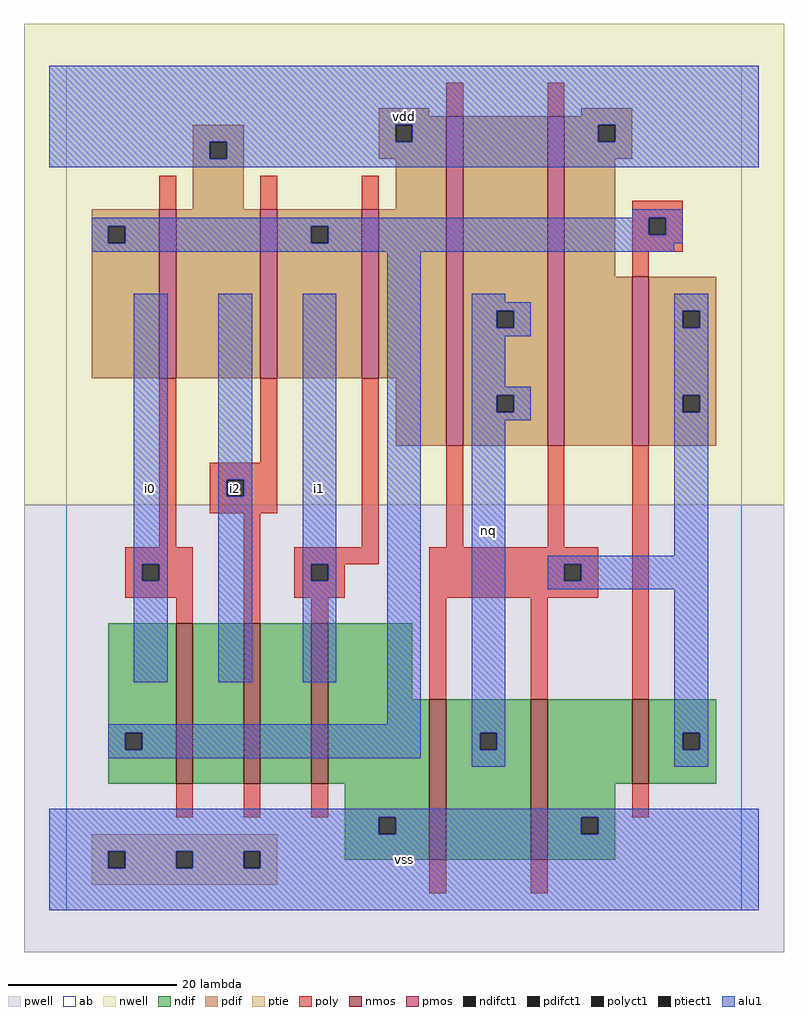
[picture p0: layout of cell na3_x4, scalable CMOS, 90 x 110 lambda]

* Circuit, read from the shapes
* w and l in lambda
.subckt na3_x4 i0 i1 i2 nq vdd vss
M1 n1 i0 n2 vss nfet w=19 l=2
M2 n3 i2 n1 vss nfet w=19 l=2
M3 vss i1 n3 vss nfet w=19 l=2
M4 nq n4 vss vss nfet w=19 l=2 m=2
M5 n4 n2 vss vss nfet w=10 l=2
M6 vdd i0 n2 n5 pfet w=20 l=2
M7 n2 i2 vdd n5 pfet w=20 l=2
M8 vdd i1 n2 n5 pfet w=20 l=2
M9 nq n4 vdd n5 pfet w=39 l=2 m=2
M10 n4 n2 vdd n5 pfet w=20 l=2
.ends

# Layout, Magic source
magic
tech scmos
<< ab >>
rect 0 0 80 100
<< nwell >>
rect -5 48 85 105
<< pwell >>
rect -5 -5 85 48
<< poly >>
rect 45 94 47 98
rect 57 94 59 98
rect 11 83 13 87
rect 23 83 25 87
rect 35 83 37 87
rect 11 43 13 63
rect 23 53 25 63
rect 17 51 25 53
rect 17 49 19 51
rect 21 49 25 51
rect 17 47 25 49
rect 7 41 15 43
rect 7 39 9 41
rect 11 39 15 41
rect 7 37 15 39
rect 13 34 15 37
rect 21 34 23 47
rect 35 43 37 63
rect 67 82 73 84
rect 67 80 69 82
rect 71 80 73 82
rect 67 78 73 80
rect 67 75 69 78
rect 45 43 47 55
rect 57 43 59 55
rect 27 41 37 43
rect 43 41 63 43
rect 27 39 29 41
rect 31 39 33 41
rect 27 37 33 39
rect 43 39 59 41
rect 61 39 63 41
rect 43 37 63 39
rect 29 34 31 37
rect 43 25 45 37
rect 55 25 57 37
rect 67 25 69 55
rect 13 11 15 15
rect 21 11 23 15
rect 29 11 31 15
rect 67 11 69 15
rect 43 2 45 6
rect 55 2 57 6
<< ndif >>
rect 5 21 13 34
rect 5 19 7 21
rect 9 19 13 21
rect 5 15 13 19
rect 15 15 21 34
rect 23 15 29 34
rect 31 25 41 34
rect 31 15 43 25
rect 33 11 43 15
rect 33 9 37 11
rect 39 9 43 11
rect 33 6 43 9
rect 45 21 55 25
rect 45 19 49 21
rect 51 19 55 21
rect 45 6 55 19
rect 57 15 67 25
rect 69 21 77 25
rect 69 19 73 21
rect 75 19 77 21
rect 69 15 77 19
rect 57 11 65 15
rect 57 9 61 11
rect 63 9 65 11
rect 57 6 65 9
<< pdif >>
rect 37 94 43 95
rect 61 94 67 95
rect 37 93 45 94
rect 15 91 21 93
rect 15 89 17 91
rect 19 89 21 91
rect 37 91 39 93
rect 41 91 45 93
rect 37 89 45 91
rect 15 83 21 89
rect 39 83 45 89
rect 3 81 11 83
rect 3 79 5 81
rect 7 79 11 81
rect 3 63 11 79
rect 13 63 23 83
rect 25 81 35 83
rect 25 79 29 81
rect 31 79 35 81
rect 25 63 35 79
rect 37 63 45 83
rect 39 55 45 63
rect 47 71 57 94
rect 47 69 51 71
rect 53 69 57 71
rect 47 61 57 69
rect 47 59 51 61
rect 53 59 57 61
rect 47 55 57 59
rect 59 93 67 94
rect 59 91 63 93
rect 65 91 67 93
rect 59 89 67 91
rect 59 75 65 89
rect 59 55 67 75
rect 69 71 77 75
rect 69 69 73 71
rect 75 69 77 71
rect 69 61 77 69
rect 69 59 73 61
rect 75 59 77 61
rect 69 55 77 59
<< alu1 >>
rect -2 93 82 100
rect -2 91 39 93
rect 41 91 63 93
rect 65 91 82 93
rect -2 89 17 91
rect 19 89 82 91
rect -2 88 82 89
rect 67 82 73 83
rect 3 81 69 82
rect 3 79 5 81
rect 7 79 29 81
rect 31 80 69 81
rect 71 80 73 82
rect 31 79 73 80
rect 3 78 72 79
rect 8 41 12 73
rect 8 39 9 41
rect 11 39 12 41
rect 8 27 12 39
rect 18 51 22 73
rect 18 49 19 51
rect 21 49 22 51
rect 18 27 22 49
rect 28 41 32 73
rect 28 39 29 41
rect 31 39 32 41
rect 28 27 32 39
rect 38 22 42 78
rect 5 21 42 22
rect 5 19 7 21
rect 9 19 42 21
rect 5 18 42 19
rect 48 72 52 73
rect 48 71 55 72
rect 48 69 51 71
rect 53 69 55 71
rect 48 68 55 69
rect 72 71 76 73
rect 72 69 73 71
rect 75 69 76 71
rect 48 62 52 68
rect 48 61 55 62
rect 48 59 51 61
rect 53 59 55 61
rect 48 58 55 59
rect 72 61 76 69
rect 72 59 73 61
rect 75 59 76 61
rect 48 21 52 58
rect 72 42 76 59
rect 57 41 76 42
rect 57 39 59 41
rect 61 39 76 41
rect 57 38 76 39
rect 48 19 49 21
rect 51 19 52 21
rect 48 17 52 19
rect 72 21 76 38
rect 72 19 73 21
rect 75 19 76 21
rect 72 17 76 19
rect -2 11 82 12
rect -2 9 37 11
rect 39 9 61 11
rect 63 9 82 11
rect -2 7 82 9
rect -2 5 5 7
rect 7 5 13 7
rect 15 5 21 7
rect 23 5 82 7
rect -2 0 82 5
<< ptie >>
rect 3 7 25 9
rect 3 5 5 7
rect 7 5 13 7
rect 15 5 21 7
rect 23 5 25 7
rect 3 3 25 5
<< nmos >>
rect 13 15 15 34
rect 21 15 23 34
rect 29 15 31 34
rect 43 6 45 25
rect 55 6 57 25
rect 67 15 69 25
<< pmos >>
rect 11 63 13 83
rect 23 63 25 83
rect 35 63 37 83
rect 45 55 47 94
rect 57 55 59 94
rect 67 55 69 75
<< polyct1 >>
rect 19 49 21 51
rect 9 39 11 41
rect 69 80 71 82
rect 29 39 31 41
rect 59 39 61 41
<< ndifct1 >>
rect 7 19 9 21
rect 37 9 39 11
rect 49 19 51 21
rect 73 19 75 21
rect 61 9 63 11
<< ptiect1 >>
rect 5 5 7 7
rect 13 5 15 7
rect 21 5 23 7
<< pdifct1 >>
rect 17 89 19 91
rect 39 91 41 93
rect 5 79 7 81
rect 29 79 31 81
rect 51 69 53 71
rect 51 59 53 61
rect 63 91 65 93
rect 73 69 75 71
rect 73 59 75 61
<< labels >>
rlabel alu1 10 50 10 50 6 i0
rlabel alu1 30 50 30 50 6 i1
rlabel polyct1 20 50 20 50 6 i2
rlabel alu1 40 6 40 6 6 vss
rlabel alu1 50 45 50 45 6 nq
rlabel alu1 40 94 40 94 6 vdd
<< end >>
